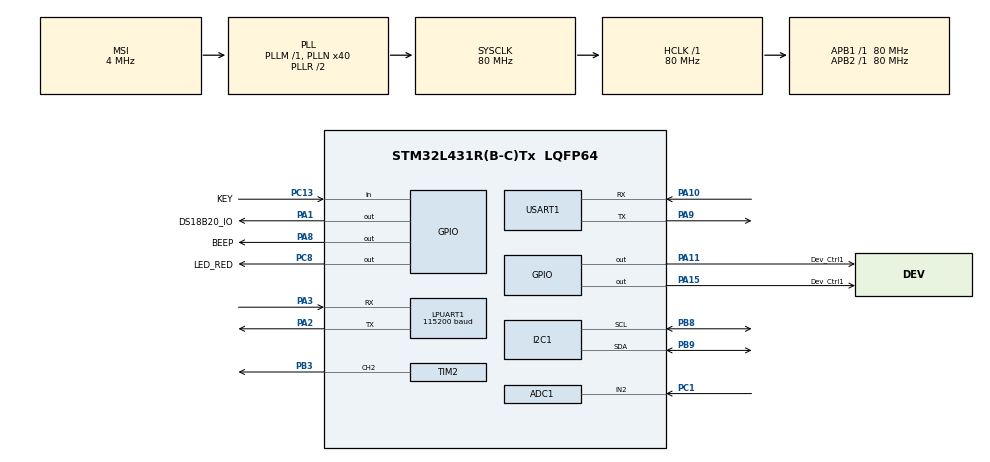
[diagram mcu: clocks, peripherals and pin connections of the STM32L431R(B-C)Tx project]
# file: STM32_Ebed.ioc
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ADC1.Channel-0\#ChannelRegularConversion=ADC_CHANNEL_2
ADC1.DMAContinuousRequests=ENABLE
ADC1.ExternalTrigConv=ADC_EXTERNALTRIG_T15_TRGO
ADC1.NbrOfConversionFlag=1
ADC1.OffsetNumber-0\#ChannelRegularConversion=ADC_OFFSET_NONE
ADC1.Rank-0\#ChannelRegularConversion=1
ADC1.SamplingTime-0\#ChannelRegularConversion=ADC_SAMPLETIME_92CYCLES_5
ADC1.master=1
Dma.ADC1.0.Direction=DMA_PERIPH_TO_MEMORY
Dma.ADC1.0.Instance=DMA1_Channel1
Dma.ADC1.0.MemDataAlignment=DMA_MDATAALIGN_HALFWORD
Dma.ADC1.0.MemInc=DMA_MINC_ENABLE
Dma.ADC1.0.Mode=DMA_CIRCULAR
Dma.ADC1.0.PeriphDataAlignment=DMA_PDATAALIGN_HALFWORD
Dma.ADC1.0.PeriphInc=DMA_PINC_DISABLE
Dma.ADC1.0.Priority=DMA_PRIORITY_LOW
Dma.LPUART_RX.1.Direction=DMA_PERIPH_TO_MEMORY
Dma.LPUART_RX.1.Instance=DMA2_Channel7
Dma.LPUART_RX.1.MemDataAlignment=DMA_MDATAALIGN_BYTE
Dma.LPUART_RX.1.MemInc=DMA_MINC_ENABLE
Dma.LPUART_RX.1.Mode=DMA_NORMAL
Dma.LPUART_RX.1.PeriphDataAlignment=DMA_PDATAALIGN_BYTE
Dma.LPUART_RX.1.PeriphInc=DMA_PINC_DISABLE
Dma.LPUART_RX.1.Priority=DMA_PRIORITY_LOW
Dma.Request0=ADC1
Dma.Request1=LPUART_RX
I2C1.Timing=0x10D19CE4
LPUART1.BaudRate=115200
LPUART1.WordLength=UART_WORDLENGTH_8B
Mcu.Family=STM32L4
Mcu.Name=STM32L431R(B-C)Tx
Mcu.Package=LQFP64
NVIC.ADC1_IRQn=true\:1\:0\:true\:false\:true\:true\:true\:true
NVIC.DMA1_Channel1_IRQn=true\:0\:0\:false\:false\:true\:false\:true\:true
NVIC.DMA2_Channel7_IRQn=true\:0\:0\:false\:false\:true\:false\:true\:true
NVIC.LPUART1_IRQn=true\:0\:0\:false\:false\:true\:true\:true\:true
NVIC.PriorityGroup=NVIC_PRIORITYGROUP_4
NVIC.TIM1_UP_TIM16_IRQn=true\:0\:0\:false\:false\:true\:true\:true\:true
NVIC.TIM6_DAC_IRQn=true\:0\:0\:false\:false\:true\:true\:true\:true
PA1.GPIO_Label=DS18B20_IO
PA1.Signal=GPIO_Output
PA10.Mode=Asynchronous
PA10.Signal=USART1_RX
PA11.GPIO_Label=Dev_Ctrl1
PA11.Signal=GPIO_Output
PA13\ (JTMS-SWDIO).Mode=Serial_Wire
PA13\ (JTMS-SWDIO).Signal=SYS_JTMS-SWDIO
PA14\ (JTCK-SWCLK).Mode=Serial_Wire
PA14\ (JTCK-SWCLK).Signal=SYS_JTCK-SWCLK
PA15\ (JTDI).GPIO_Label=Dev_Ctrl1
PA15\ (JTDI).Signal=GPIO_Output
PA2.Mode=Asynchronous
PA2.Signal=LPUART1_TX
PA3.Mode=Asynchronous
PA3.Signal=LPUART1_RX
PA8.GPIO_Label=BEEP
PA8.Signal=GPIO_Output
PA9.Mode=Asynchronous
PA9.Signal=USART1_TX
PB3\ (JTDO-TRACESWO).Signal=S_TIM2_CH2
PB8.Mode=I2C
PB8.Signal=I2C1_SCL
PB9.Mode=I2C
PB9.Signal=I2C1_SDA
PC1.Signal=ADCx_IN2
PC13.GPIO_Label=KEY
PC13.Signal=GPIO_Input
PC14-OSC32_IN\ (PC14).Mode=LSE-External-Clock-Source
PC14-OSC32_IN\ (PC14).Signal=RCC_OSC32_IN
PC8.GPIO_Label=LED_RED
PC8.Signal=GPIO_Output
PH0-OSC_IN\ (PH0).Mode=HSE-External-Clock-Source
PH0-OSC_IN\ (PH0).Signal=RCC_OSC_IN
ProjectManager.HeapSize=0x200
ProjectManager.StackSize=0x400
ProjectManager.TargetToolchain=STM32CubeIDE
RCC.ADCFreq_Value=32000000
RCC.AHBFreq_Value=80000000
RCC.APB1Freq_Value=80000000
RCC.APB1TimFreq_Value=80000000
RCC.APB2Freq_Value=80000000
RCC.APB2TimFreq_Value=80000000
RCC.CortexFreq_Value=80000000
RCC.HCLKFreq_Value=80000000
RCC.HSE_VALUE=8000000
RCC.HSI48_VALUE=48000000
RCC.HSI_VALUE=16000000
RCC.LSE_VALUE=32768
RCC.MSI_VALUE=4000000
RCC.PLLN=40
RCC.PLLSAI1N=16
RCC.SYSCLKFreq_VALUE=80000000
RCC.SYSCLKSource=RCC_SYSCLKSOURCE_PLLCLK
RCC.VCOOutputFreq_Value=160000000
SH.ADCx_IN2.0=ADC1_IN2,IN2-Single-Ended
SH.S_TIM2_CH2.0=TIM2_CH2,PWM Generation2 CH2
TIM15.Period=5000
TIM15.Prescaler=8000-1
TIM15.TIM_MasterOutputTrigger=TIM_TRGO_UPDATE
TIM16.Period=20000
TIM16.Prescaler=80
TIM2.AutoReloadPreload=TIM_AUTORELOAD_PRELOAD_DISABLE
TIM2.Channel-PWM\ Generation2\ CH2=TIM_CHANNEL_2
TIM2.OCPolarity_2=TIM_OCPOLARITY_LOW
TIM2.Period=100-1
TIM2.Prescaler=80-1
TIM6.Period=1000
TIM6.Prescaler=80-1
TIM7.Prescaler=80-1
USART1.VirtualMode-Asynchronous=VM_ASYNC
VP_TIM15_VS_ClockSourceINT.Mode=Internal
VP_TIM16_VS_ClockSourceINT.Mode=Enable_Timer
VP_TIM2_VS_ClockSourceINT.Mode=Internal
VP_TIM6_VS_ClockSourceINT.Mode=Enable_Timer
VP_TIM7_VS_ClockSourceINT.Mode=Enable_Timer
board=custom

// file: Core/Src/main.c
/* USER CODE BEGIN Header */
/**
  ******************************************************************************
  * @file           : main.c
  * @brief          : Main program body
  ******************************************************************************
  * @attention
  *
  * Copyright (c) 2024 STMicroelectronics.
  * All rights reserved.
  *
  * This software is licensed under terms that can be found in the LICENSE file
  * in the root directory of this software component.
  * If no LICENSE file comes with this software, it is provided AS-IS.
  *
  ******************************************************************************
  */
/* USER CODE END Header */
#include "main.h"
#include "adc.h"
#include "dma.h"
#include "i2c.h"
#include "usart.h"
#include "tim.h"
#include "gpio.h"

/* USER CODE BEGIN Includes */
#include "stdio.h"
/* USER CODE END Includes */

void SystemClock_Config(void);

int main(void)
{

  /* MCU Configuration--------------------------------------------------------*/

  /* Reset of all peripherals, Initializes the Flash interface and the Systick. */
  HAL_Init();

  /* Configure the system clock */
  SystemClock_Config();

  /* Initialize all configured peripherals */
  MX_GPIO_Init();
  MX_DMA_Init();
  MX_USART1_UART_Init();
  MX_TIM7_Init();
  MX_TIM6_Init();
  MX_TIM2_Init();
  MX_ADC1_Init();
  MX_TIM15_Init();
  MX_I2C1_Init();
  MX_LPUART1_UART_Init();
  MX_TIM16_Init();
  /* USER CODE BEGIN 2 */
  DS18B20_Init();
  HAL_Delay(1000);
  OLED_Init();

  StartupInterface();

  AHT10_Init();
  HAL_Delay(20);
  BH1750_Init();

  HAL_Delay(3000);

  /* USER CODE END 2 */

  /* Infinite loop */
  /* USER CODE BEGIN WHILE */
  HAL_TIM_PWM_Start(&htim2, TIM_CHANNEL_2);  //启动定时器通道2PWM功能

  HAL_ADC_Start_DMA(&hadc1, (uint32_t*) ADC_Raw, 1);//DMA方式启动ADC
  HAL_TIM_Base_Start(&htim15);   //启动定时器

  HAL_UART_Receive_DMA(&hlpuart1,WifiData.DMARecBuffer,DMA_REC_SIZE);  //重新打开DMA接收
  __HAL_UART_ENABLE_IT(&hlpuart1, UART_IT_IDLE);
  HAL_TIM_Base_Start_IT(&htim16);
  HAL_Delay(1000);

  ThingCloud_Conn();//连接云平台--只需修改ThingsCloud云平台Username和Password

  while (1)
  {
	  KeyHandle();
	  TaskHandle();

    /* USER CODE END WHILE */

  }
}

void SystemClock_Config(void)
{
  RCC_OscInitTypeDef RCC_OscInitStruct = {0};
  RCC_ClkInitTypeDef RCC_ClkInitStruct = {0};

  /** Configure the main internal regulator output voltage
  */
  if (HAL_PWREx_ControlVoltageScaling(PWR_REGULATOR_VOLTAGE_SCALE1) != HAL_OK)
  {
    Error_Handler();
  }

  /** Initializes the RCC Oscillators according to the specified parameters
  * in the RCC_OscInitTypeDef structure.
  */
  RCC_OscInitStruct.OscillatorType = RCC_OSCILLATORTYPE_LSE|RCC_OSCILLATORTYPE_MSI;
  RCC_OscInitStruct.LSEState = RCC_LSE_BYPASS;
  RCC_OscInitStruct.MSIState = RCC_MSI_ON;
  RCC_OscInitStruct.MSICalibrationValue = 0;
  RCC_OscInitStruct.MSIClockRange = RCC_MSIRANGE_6;
  RCC_OscInitStruct.PLL.PLLState = RCC_PLL_ON;
  RCC_OscInitStruct.PLL.PLLSource = RCC_PLLSOURCE_MSI;
  RCC_OscInitStruct.PLL.PLLM = 1;
  RCC_OscInitStruct.PLL.PLLN = 40;
  RCC_OscInitStruct.PLL.PLLP = RCC_PLLP_DIV7;
  RCC_OscInitStruct.PLL.PLLQ = RCC_PLLQ_DIV2;
  RCC_OscInitStruct.PLL.PLLR = RCC_PLLR_DIV2;
  if (HAL_RCC_OscConfig(&RCC_OscInitStruct) != HAL_OK)
  {
    Error_Handler();
  }

  /** Initializes the CPU, AHB and APB buses clocks
  */
  RCC_ClkInitStruct.ClockType = RCC_CLOCKTYPE_HCLK|RCC_CLOCKTYPE_SYSCLK
                              |RCC_CLOCKTYPE_PCLK1|RCC_CLOCKTYPE_PCLK2;
  RCC_ClkInitStruct.SYSCLKSource = RCC_SYSCLKSOURCE_PLLCLK;
  RCC_ClkInitStruct.AHBCLKDivider = RCC_SYSCLK_DIV1;
  RCC_ClkInitStruct.APB1CLKDivider = RCC_HCLK_DIV1;
  RCC_ClkInitStruct.APB2CLKDivider = RCC_HCLK_DIV1;

  if (HAL_RCC_ClockConfig(&RCC_ClkInitStruct, FLASH_LATENCY_4) != HAL_OK)
  {
    Error_Handler();
  }

  /** Enable MSI Auto calibration
  */
  HAL_RCCEx_EnableMSIPLLMode();
}

/* USER CODE BEGIN 4 */
#ifdef __GNUC__
     #define PUTCHAR_PROTOTYPE int __io_putchar(int ch)
 #else
     #define PUTCHAR_PROTOTYPE int fputc(int ch, FILE *f)
 #endif
PUTCHAR_PROTOTYPE
{
	HAL_UART_Transmit(&huart1, (uint8_t *)&ch, 1, 0xFFFF);
	return ch;
}

void HAL_TIM_PeriodElapsedCallback(TIM_HandleTypeDef *htim)
{

   if(htim == &htim6)
   {
	   TaskScheduleCb();
   }

   if(htim == &htim16)   WifiAPPDataHandle();
}
/* USER CODE END 4 */

void Error_Handler(void)
{
  __disable_irq();
  while (1)
  {
  }
}
